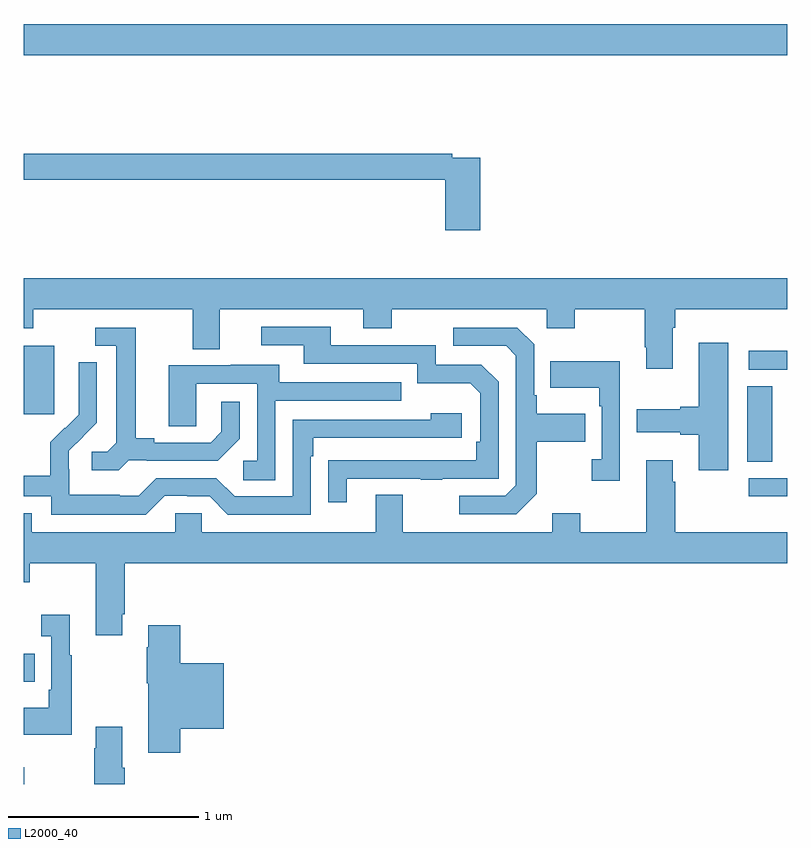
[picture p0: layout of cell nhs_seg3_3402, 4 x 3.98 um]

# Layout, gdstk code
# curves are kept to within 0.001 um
import gdstk
lib = gdstk.Library(unit=1e-6, precision=1e-09)
def R(c, l, rs):  # rectangles x0, y0, x1, y1
    for r in rs: c.add(gdstk.rectangle(r[:2], r[2:], *l))
def P(c, l, *ps):  # polygons
    for p in ps: c.add(gdstk.Polygon(p, *l))
L2000_40 = (2000, 40)

nhs_seg3_3402 = lib.new_cell('nhs_seg3_3402')
R(nhs_seg3_3402, L2000_40, [(287,726.4,287.001,726.487), (287,726.935,287.057,727.083), (290.799,727.908,291,728.004), (290.792,728.089,290.923,728.486), (287,728.337,287.158,728.698), (290.799,728.571,291,728.67), (287,730.22,291,730.384)])
P(nhs_seg3_3402, L2000_40, [(289.391,729.684),(289.244,729.684),(289.244,729.704),(287,729.704),(287,729.568),(289.208,729.568),(289.208,729.303),(289.391,729.303)],
  [(290.401,728.792),(290.414,728.792),(290.414,728.888),(291,728.888),(291,729.052),(287,729.052),(287,728.789),(287.049,728.789),(287.049,728.888),(287.885,728.888),(287.885,728.68),(288.025,728.68),(288.025,728.888),(288.779,728.888),(288.779,728.789),(288.927,728.789),(288.927,728.888),(289.74,728.888),(289.74,728.789),(289.887,728.789),(289.887,728.888),(290.254,728.888),(290.254,728.689),(290.261,728.689),(290.261,728.577),(290.401,728.577)],
  [(288.691,728.001),(289.081,728.001),(289.081,727.996),(289.193,727.996),(289.193,728.001),(289.488,728.001),(289.488,728.508),(289.398,728.598),(289.158,728.598),(289.158,728.7),(288.607,728.7),(288.607,728.796),(288.243,728.796),(288.243,728.7),(288.467,728.7),(288.467,728.604),(289.062,728.604),(289.062,728.501),(289.339,728.501),(289.392,728.448),(289.392,728.194),(289.372,728.194),(289.372,728.097),(288.595,728.096),(288.595,727.878),(288.691,727.878)],
  [(289.687,727.921),(289.687,728.194),(289.943,728.194),(289.943,728.341),(289.687,728.341),(289.687,728.437),(289.674,728.437),(289.674,728.706),(289.587,728.793),(289.251,728.793),(289.251,728.697),(289.527,728.697),(289.578,728.646),(289.578,727.965),(289.524,727.911),(289.281,727.911),(289.281,727.815),(289.581,727.815)],
  [(287.55,728.097),(287.644,728.097),(287.644,728.094),(288.016,728.094),(288.132,728.21),(288.132,728.404),(288.035,728.404),(288.035,728.247),(287.978,728.19),(287.683,728.19),(287.683,728.213),(287.587,728.213),(287.587,728.793),(287.373,728.793),(287.373,728.697),(287.483,728.697),(287.483,728.189),(287.436,728.142),(287.355,728.142),(287.355,728.045),(287.498,728.045)],
  [(290.692,728.713),(290.537,728.713),(290.537,728.378),(290.441,728.378),(290.441,728.365),(290.211,728.365),(290.211,728.243),(290.441,728.243),(290.441,728.231),(290.537,728.231),(290.537,728.046),(290.692,728.046)],
  [(290.124,728.617),(289.759,728.617),(289.759,728.477),(290.016,728.477),(290.016,728.381),(290.028,728.381),(290.028,728.102),(289.977,728.102),(289.977,727.989),(290.124,727.989)],
  [(287.739,727.911),(287.855,727.911),(287.855,727.908),(287.973,727.908),(288.069,727.812),(288.504,727.812),(288.504,728.117),(288.517,728.117),(288.517,728.214),(289.294,728.214),(289.294,728.344),(289.133,728.344),(289.133,728.31),(288.408,728.31),(288.408,727.908),(288.105,727.908),(288.009,728.004),(287.694,728.004),(287.601,727.911),(287.501,727.911),(287.501,727.915),(287.238,727.915),(287.238,728.049),(287.236,728.049),(287.236,728.146),(287.382,728.294),(287.382,728.612),(287.286,728.612),(287.286,728.458),(287.288,728.458),(287.288,728.336),(287.217,728.265),(287.214,728.268),(287.137,728.191),(287.137,728.017),(287,728.017),(287,727.908),(287.142,727.908),(287.142,727.811),(287.639,727.811)],
  [(288.318,728.409),(288.977,728.409),(288.977,728.505),(288.337,728.505),(288.337,728.599),(288.083,728.599),(288.083,728.595),(287.759,728.595),(287.759,728.275),(287.904,728.275),(287.904,728.499),(288.222,728.499),(288.222,728.094),(288.15,728.094),(288.15,727.993),(288.318,727.993)],
  [(287.515,727.291),(287.528,727.291),(287.528,727.556),(291,727.556),(291,727.72),(290.414,727.72),(290.414,727.985),(290.401,727.985),(290.401,728.098),(290.261,728.098),(290.261,727.72),(289.917,727.72),(289.917,727.819),(289.769,727.819),(289.769,727.72),(288.985,727.72),(288.985,727.915),(288.845,727.915),(288.845,727.72),(287.931,727.72),(287.931,727.818),(287.793,727.818),(287.793,727.72),(287.041,727.72),(287.041,727.819),(287,727.819),(287,727.457),(287.031,727.457),(287.031,727.556),(287.375,727.556),(287.375,727.179),(287.515,727.179)],
  [(287.251,727.075),(287.239,727.075),(287.239,727.288),(287.091,727.288),(287.091,727.175),(287.142,727.175),(287.142,726.895),(287.13,726.895),(287.13,726.799),(287,726.799),(287,726.659),(287.251,726.659)],
  [(287.819,726.689),(288.046,726.689),(288.046,727.033),(287.819,727.033),(287.819,727.231),(287.651,727.231),(287.651,727.118),(287.644,727.118),(287.644,726.929),(287.651,726.929),(287.651,726.564),(287.819,726.564)],
  [(287.528,726.484),(287.515,726.484),(287.515,726.7),(287.375,726.7),(287.375,726.587),(287.368,726.587),(287.368,726.4),(287.528,726.4)])

lib.write_gds('nhs_seg3_3402.gds')
